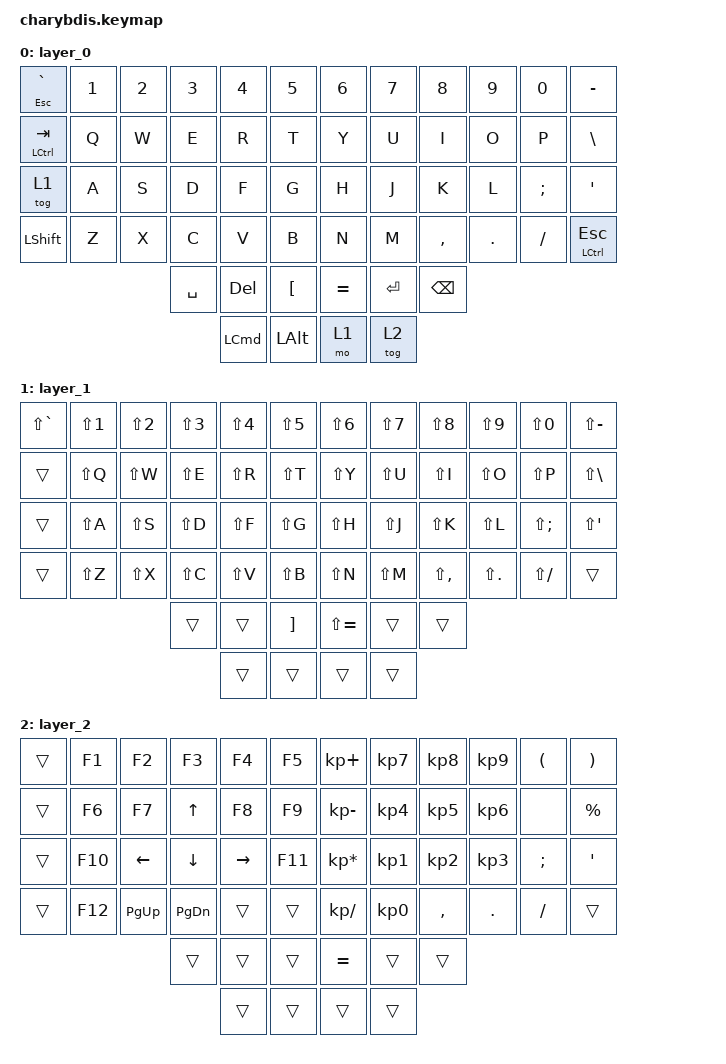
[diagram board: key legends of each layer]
#include <behaviors.dtsi>
#include <dt-bindings/zmk/keys.h>

&lt {
    tapping-term-ms = <200>;
    flavor = "balanced";
    quick-tap-ms = <150>;
};

/ {
    keymap {
        compatible = "zmk,keymap";

        layer_0 {
            bindings = <
&mt ESC GRAVE   &kp N1  &kp N2  &kp N3     &kp N4            &kp N5              &kp N6     &kp N7     &kp N8         &kp N9      &kp N0     &kp MINUS
&mt LCTRL TAB   &kp Q   &kp W   &kp E      &kp R             &kp T               &kp Y      &kp U      &kp I          &kp O       &kp P      &kp BACKSLASH
&tog 1          &kp A   &kp S   &kp D      &kp F             &kp G               &kp H      &kp J      &kp K          &kp L       &kp SEMI   &kp SQT
&kp LEFT_SHIFT  &kp Z   &kp X   &kp C      &kp V             &kp B               &kp N      &kp M      &kp COMMA      &kp PERIOD  &kp SLASH  &mt LCTRL ESC
                                &kp SPACE  &kp DELETE        &kp LEFT_BRACKET    &kp EQUAL  &kp ENTER  &kp BACKSPACE
                                           &kp LEFT_COMMAND  &kp LEFT_ALT        &mo 1      &tog 2
            >;
        };

        layer_1 {
            bindings = <
&kp LS(GRAVE)  &kp LS(N1)  &kp LS(N2)  &kp LS(N3)  &kp LS(N4)  &kp LS(N5)           &kp LS(N6)     &kp LS(N7)  &kp LS(N8)     &kp LS(N9)      &kp LS(N0)     &kp LS(MINUS)
&trans         &kp LS(Q)   &kp LS(W)   &kp LS(E)   &kp LS(R)   &kp LS(T)            &kp LS(Y)      &kp LS(U)   &kp LS(I)      &kp LS(O)       &kp LS(P)      &kp LS(BACKSLASH)
&trans         &kp LS(A)   &kp LS(S)   &kp LS(D)   &kp LS(F)   &kp LS(G)            &kp LS(H)      &kp LS(J)   &kp LS(K)      &kp LS(L)       &kp LS(SEMI)   &kp LS(SQT)
&trans         &kp LS(Z)   &kp LS(X)   &kp LS(C)   &kp LS(V)   &kp LS(B)            &kp LS(N)      &kp LS(M)   &kp LS(COMMA)  &kp LS(PERIOD)  &kp LS(SLASH)  &trans
                                       &trans      &trans      &kp RIGHT_BRACKET    &kp LS(EQUAL)  &trans      &trans
                                                   &trans      &trans               &trans         &trans
            >;
        };

        layer_2 {
            bindings = <
&trans  &kp F1   &kp F2          &kp F3          &kp F4           &kp F5     &kp KP_PLUS      &kp KP_NUMBER_7  &kp KP_NUMBER_8  &kp KP_NUMBER_9  &kp LEFT_PARENTHESIS  &kp RIGHT_PARENTHESIS
&trans  &kp F6   &kp F7          &kp UP_ARROW    &kp F8           &kp F9     &kp KP_MINUS     &kp KP_NUMBER_4  &kp KP_NUMBER_5  &kp KP_NUMBER_6  &none                 &kp PERCENT
&trans  &kp F10  &kp LEFT_ARROW  &kp DOWN_ARROW  &kp RIGHT_ARROW  &kp F11    &kp KP_MULTIPLY  &kp KP_NUMBER_1  &kp KP_NUMBER_2  &kp KP_NUMBER_3  &kp SEMICOLON         &kp SQT
&trans  &kp F12  &kp PAGE_UP     &kp PAGE_DOWN   &trans           &trans     &kp KP_DIVIDE    &kp KP_NUMBER_0  &kp COMMA        &kp PERIOD       &kp SLASH             &trans
                                 &trans          &trans           &trans     &kp EQUAL        &trans           &trans
                                                 &trans           &trans     &trans           &trans
            >;
        };

        /* layer_2 {
            bindings = <
&none  &none   &none    &none   &none         &none         &kp N1         &none         &none     &none  &none   &to 0
&none  &none   &none    &none   &none         &none         &none         &none          &rgb_ug RGB_BRD &rgb_ug RGB_BRI  &rgb_ug RGB_EFF   &rgb_ug RGB_TOG
&none  &none   &none    &none   &none         &none         &none         &mkp LCLK     &mkp RCLK  &none  &none   &none
&none  &none   &none    &none   &bt BT_NXT  &bt BT_CLR    &none         &none         &none     &none  &none   &none
                                   &none         &none         &none         &none         &none
                                                 &none         &none         &none
            >;
          trackball-bindings = <&tsl>;
            
        };

       Mouse {
            bindings = <
&none        &none         &none         &none         &none      &none         &none       &none      &none         &none         &none         &none
&none        &bt BT_SEL 0  &bt BT_SEL 1  &bt BT_SEL 3  &none      &bt BT_CLR    &bt BT_CLR  &none      &bt BT_SEL 2  &bt BT_SEL 1  &bt BT_SEL 0  &none
&none        &trans        &trans        &mkp MCLK     &trans     &none         &none       &trans     &mkp MCLK     &trans        &trans        &none
&bootloader  &trans        &mkp RCLK     &mo 4         &mkp LCLK  &mo 5         &mo 5       &mkp LCLK  &mo 4         &mkp RCLK     &trans        &bootloader
                                         &mo 5         &mkp LCLK  &mkp RCLK     &mkp RCLK   &mkp LCLK
                                                       &none      &trans        &trans
            >;

            
        };

        layer_4 {
            bindings = <
&trans  &trans  &trans     &trans     &trans     &trans       &trans     &trans     &trans     &trans     &trans  &trans
&trans  &trans  &trans     &trans     &trans     &trans       &trans     &trans     &trans     &trans     &trans  &trans
&trans  &trans  &trans     &mkp MCLK  &trans     &trans       &trans     &trans     &mkp MCLK  &trans     &trans  &trans
&trans  &trans  &mkp RCLK  &trans     &mkp LCLK  &trans       &trans     &mkp LCLK  &trans     &mkp RCLK  &trans  &trans
                           &trans     &mkp LCLK  &mkp RCLK    &mkp RCLK  &mkp LCLK
                                      &trans     &trans       &trans
            >;
                
                
                trackball-bindings = <&tsl>;
        };

        layer_5 {
            bindings = <
&trans  &trans  &trans     &trans     &trans     &trans       &trans     &trans     &trans     &trans     &trans  &trans
&trans  &trans  &trans     &trans     &trans     &trans       &trans     &trans     &trans     &trans     &trans  &trans
&trans  &trans  &trans     &mkp MCLK  &trans     &trans       &trans     &trans     &mkp MCLK  &trans     &trans  &trans
&trans  &trans  &mkp RCLK  &trans     &mkp LCLK  &trans       &trans     &mkp LCLK  &trans     &mkp RCLK  &trans  &trans
                           &trans     &mkp LCLK  &mkp RCLK    &mkp RCLK  &mkp LCLK
                                      &trans     &trans       &trans
            >;
                trackball-bindings = <&tmv_fine>;
                
        };*/
    };
};
